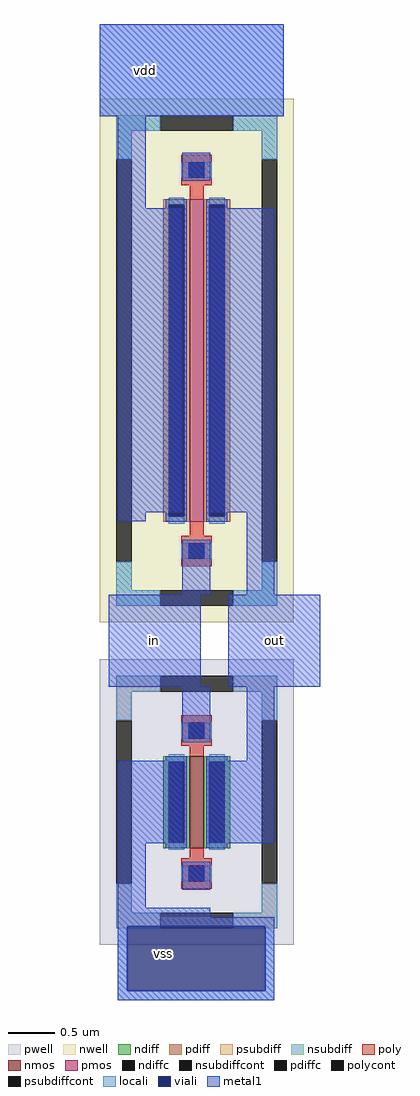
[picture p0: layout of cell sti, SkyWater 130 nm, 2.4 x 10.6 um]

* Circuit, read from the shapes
.subckt sti vdd in out vss
XM1 out in vss vss sky130_fd_pr__nfet_01v8 w=1 l=0.15
XM2 out in vdd n1 sky130_fd_pr__pfet_01v8 w=3.5 l=0.15
.ends

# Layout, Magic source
magic
tech sky130A
magscale 1 2
<< pwell >>
rect 980 -580 1040 -520
<< locali >>
rect 800 1100 1200 1300
rect 840 -660 1180 -640
rect 840 -800 860 -660
rect 1160 -800 1180 -660
rect 840 -820 1180 -800
<< viali >>
rect 860 -800 1160 -660
<< metal1 >>
rect 800 1100 1200 1300
rect 840 900 900 1100
rect 980 960 1040 1020
rect 840 240 980 900
rect 1040 240 1180 900
rect 840 220 900 240
rect 980 60 1040 180
rect 1120 60 1180 240
rect 820 -140 1020 60
rect 1080 -140 1280 60
rect 980 -260 1040 -140
rect 1120 -300 1180 -140
rect 840 -480 980 -300
rect 1040 -480 1180 -300
rect 840 -620 900 -480
rect 980 -580 1040 -520
rect 840 -640 1040 -620
rect 840 -660 1180 -640
rect 840 -800 860 -660
rect 1160 -800 1180 -660
rect 840 -820 1180 -800
use sky130_fd_pr__nfet_01v8_648S5X  XM1
transform 1 0 1011 0 1 -390
box -211 -310 211 310
use sky130_fd_pr__pfet_01v8_XJPNAL  XM2
transform 1 0 1011 0 1 569
box -211 -569 211 569
<< labels >>
flabel metal1 800 1100 1000 1300 0 FreeSans 256 0 0 0 vdd
port 0 nsew
flabel metal1 840 -820 1040 -620 0 FreeSans 256 0 0 0 vss
port 3 nsew
flabel metal1 820 -140 1020 60 0 FreeSans 256 0 0 0 in
port 1 nsew
flabel metal1 1080 -140 1280 60 0 FreeSans 256 0 0 0 out
port 2 nsew
<< end >>

# cell sky130_fd_pr__nfet_01v8_648S5X: kit device sky130_fd_pr__nfet_01v8, w 1.0 l 0.15 m 1 nf 1 diffcov 100 polycov 100 guard 1 glc 1 grc 1 gtc 1 gbc 1 tbcov 100 rlcov 100 topc 1 botc 1 poverlap 0 doverlap 1 lmin 0.15 wmin 0.42 compatible {sky130_fd_pr__nfet_01v8 sky130_fd_pr__nfet_01v8_lvt sky130_fd_bs_flash__special_sonosfet_star sky130_fd_pr__nfet_g5v0d10v5 sky130_fd_pr__nfet_05v0_nvt sky130_fd_pr__nfet_03v3_nvt} full_metal 1 viasrc 100 viadrn 100 viagate 100 viagb 0 viagr 0 viagl 0 viagt 0

# cell sky130_fd_pr__pfet_01v8_XJPNAL: kit device sky130_fd_pr__pfet_01v8, w 3.5 l 0.15 m 1 nf 1 diffcov 100 polycov 100 guard 1 glc 1 grc 1 gtc 1 gbc 1 tbcov 100 rlcov 100 topc 1 botc 1 poverlap 0 doverlap 1 lmin 0.15 wmin 0.42 compatible {sky130_fd_pr__pfet_01v8 sky130_fd_pr__pfet_01v8_lvt sky130_fd_pr__pfet_01v8_hvt sky130_fd_pr__pfet_g5v0d10v5} full_metal 1 viasrc 100 viadrn 100 viagate 100 viagb 0 viagr 0 viagl 0 viagt 0
